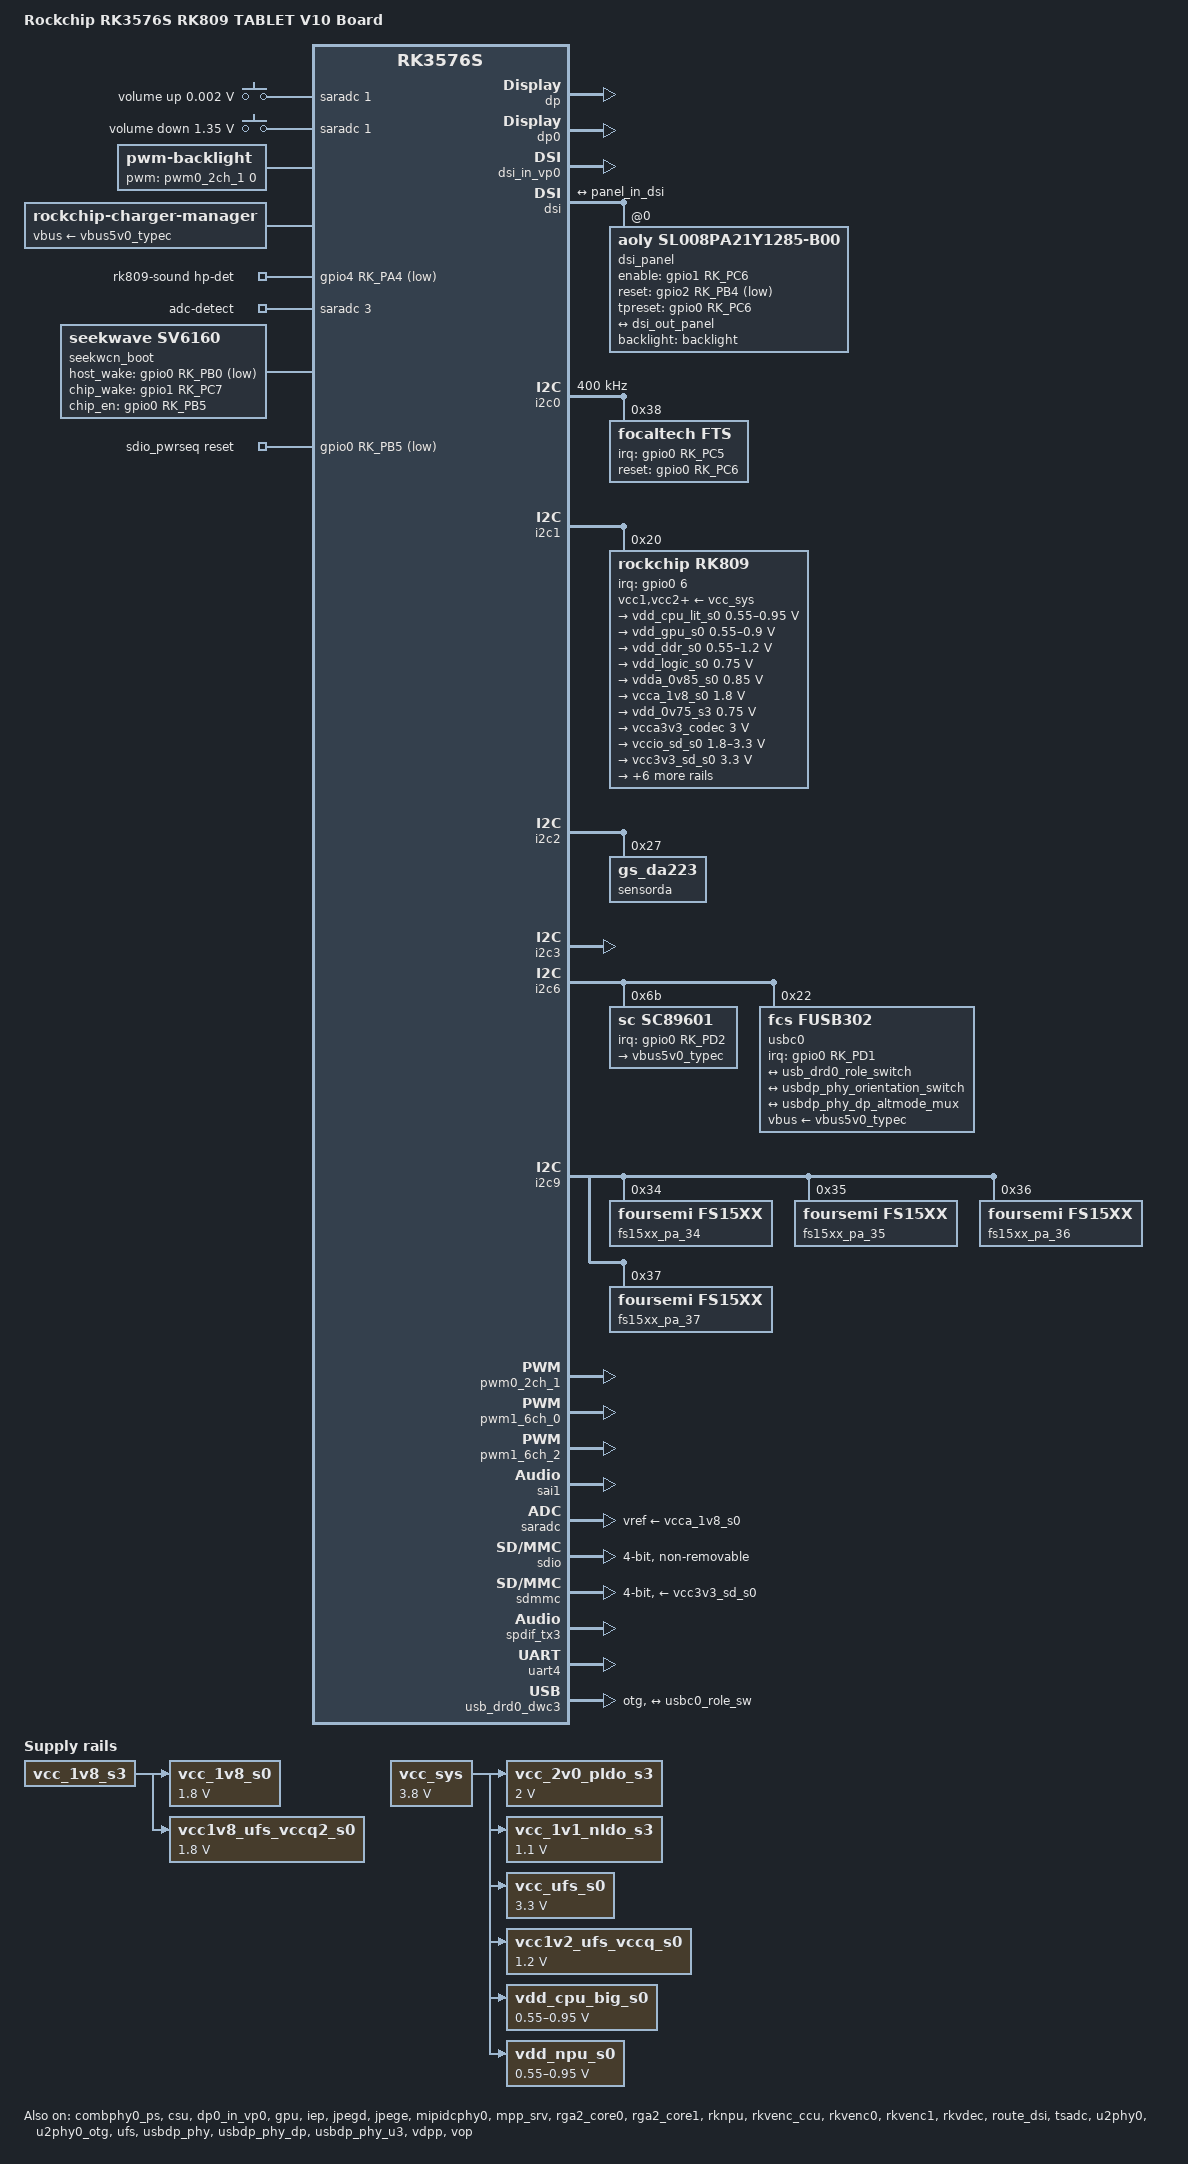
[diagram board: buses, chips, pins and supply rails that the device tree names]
// SPDX-License-Identifier: (GPL-2.0+ OR MIT)
/*
 * Copyright (c) 2024 Rockchip Electronics Co., Ltd.
 *
 */

/dts-v1/;

#include <dt-bindings/gpio/gpio.h>
#include <dt-bindings/pwm/pwm.h>
#include <dt-bindings/pinctrl/rockchip.h>
#include <dt-bindings/input/rk-input.h>
#include <dt-bindings/display/drm_mipi_dsi.h>
#include <dt-bindings/display/rockchip_vop.h>
#include <dt-bindings/sensor-dev.h>
#include <dt-bindings/usb/pd.h>
#include "rk3576s.dtsi"
#include "rk3576-android.dtsi"
#include "rk3576s-rk809-tablet-camera.dtsi"

/ {
	model = "Rockchip RK3576S RK809 TABLET V10 Board";
	compatible = "rockchip,rk3576s-rk809-tablet-v10", "rockchip,rk3576s";

	adc_keys: adc-keys {
		compatible = "adc-keys";
		io-channels = <&saradc 1>;
		io-channel-names = "buttons";
		keyup-threshold-microvolt = <1800000>;
		poll-interval = <100>;

		vol-up-key {
			label = "volume up";
			linux,code = <KEY_VOLUMEUP>;
			press-threshold-microvolt = <1750>;
		};

		vol-down-key {
			label = "volume down";
			linux,code = <KEY_VOLUMEDOWN>;
			press-threshold-microvolt = <1350000>;
		};
	};

	backlight: backlight {
		compatible = "pwm-backlight";
		pwms = <&pwm0_2ch_1 0 25000 0>;
		brightness-levels = <
			  0  20  20  21  21  22  22  23
			 23  24  24  25  25  26  26  27
			 27  28  28  29  29  30  30  31
			 31  32  32  33  33  34  34  35
			 35  36  36  37  37  38  38  39
			 40  41  42  43  44  45  46  47
			 48  49  50  51  52  53  54  55
			 56  57  58  59  60  61  62  63
			 64  65  66  67  68  69  70  71
			 72  73  74  75  76  77  78  79
			 80  81  82  83  84  85  86  87
			 88  89  90  91  92  93  94  95
			 96  97  98  99 100 101 102 103
			104 105 106 107 108 109 110 111
			112 113 114 115 116 117 118 119
			120 121 122 123 124 125 126 127
			128 129 130 131 132 133 134 135
			136 137 138 139 140 141 142 143
			144 145 146 147 148 149 150 151
			152 153 154 155 156 157 158 159
			160 161 162 163 164 165 166 167
			168 169 170 171 172 173 174 175
			176 177 178 179 180 181 182 183
			184 185 186 187 188 189 190 191
			192 193 194 195 196 197 198 199
			200 201 202 203 204 205 206 207
			208 209 210 211 212 213 214 215
			216 217 218 219 220 221 222 223
			224 225 226 227 228 229 230 231
			232 233 234 235 236 237 238 239
			240 241 242 243 244 245 246 247
			248 249 250 251 252 253 254 255
		>;
		default-brightness-level = <150>;
		max-brightness-level = <145>;
	};

	bt-sound {
		compatible = "simple-audio-card";
		simple-audio-card,format = "dsp_b";
		simple-audio-card,bitclock-inversion = <1>;
		simple-audio-card,mclk-fs = <256>;
		simple-audio-card,name = "rockchip,bt";
		simple-audio-card,cpu {
				sound-dai = <&sai2>;
		};
		simple-audio-card,codec {
				sound-dai = <&bt_sco>;
		};
	};

	bt_sco: bt-sco {
		compatible = "delta,dfbmcs320";
		#sound-dai-cells = <0>;
		status = "okay";
	};

	charge-animation {
		compatible = "rockchip,uboot-charge";
		rockchip,uboot-charge-on = <0>;
		rockchip,android-charge-on = <1>;
		rockchip,uboot-low-power-voltage = <3450>;
		rockchip,screen-on-voltage = <3500>;
		rockchip,auto-wakeup-interval = <5>;
		rockchip,uboot-exit-charge-level = <2>;
		rockchip,uboot-exit-charge-voltage = <3500>;
		rockchip,uboot-exit-charge-auto = <1>;
		status = "okay";
	};

	charger-manager {
		compatible = "rockchip-charger-manager";
		cm-name = "battery";
		cm-poll-mode = <2>;
		cm-poll-interval = <1000>;

		cm-chargers = "sc89601-charger";//cx2560x-charger,sc89601-charger
		cm-chargers-phandle = <&usbc0>;
		cm-fuel-gauge = "battery";
		/* monitored-battery = <&bat>; */
		extcon = <&u2phy0>;
		vbus-supply = <&vbus5v0_typec>;
		//cm-jeita-temp-charge-table = <0 15 2400000 4350000>,
		//				<15 45 2400000 4350000>,
		//				<45 60 2400000 4200000>;
	};

	dp0_sound: dp0-sound {
		compatible = "rockchip,hdmi";
		rockchip,mclk-fs = <512>;
		rockchip,card-name = "rockchip-dp0";
		rockchip,cpu = <&spdif_tx3>;
		rockchip,codec = <&dp0 1>;
		rockchip,jack-det;
	};

	rk809-sound {
		compatible = "rockchip,multicodecs-card";
		rockchip,card-name = "rockchip-rk809";
		hp-det-gpio = <&gpio4 RK_PA4 GPIO_ACTIVE_LOW>;
		io-channels = <&saradc 3>;
		io-channel-names = "adc-detect";
		keyup-threshold-microvolt = <1800000>;
		poll-interval = <100>;
		rockchip,format = "i2s";
		rockchip,mclk-fs = <256>;
		rockchip,cpu = <&sai1>;
		rockchip,codec = <&rk809_codec>;
		pinctrl-names = "default";
		pinctrl-0 = <&hp_det>;
		play-pause-key {
			label = "playpause";
			linux,code = <KEY_PLAYPAUSE>;
			press-threshold-microvolt = <2000>;
		};
	};

	vcc_sys: vcc-sys {
		compatible = "regulator-fixed";
		regulator-name = "vcc_sys";
		regulator-always-on;
		regulator-boot-on;
		regulator-min-microvolt = <3800000>;
		regulator-max-microvolt = <3800000>;
	};

	vcc_2v0_pldo_s3: vcc-2v0-pldo-s3 {
		compatible = "regulator-fixed";
		regulator-name = "vcc_2v0_pldo_s3";
		regulator-boot-on;
		regulator-always-on;
		regulator-min-microvolt = <2000000>;
		regulator-max-microvolt = <2000000>;
		vin-supply = <&vcc_sys>;
	};

	vcc_1v1_nldo_s3: vcc-1v1-nldo-s3 {
		compatible = "regulator-fixed";
		regulator-name = "vcc_1v1_nldo_s3";
		regulator-boot-on;
		regulator-always-on;
		regulator-min-microvolt = <1100000>;
		regulator-max-microvolt = <1100000>;
		vin-supply = <&vcc_sys>;
	};

	vcc_1v8_s0: vcc-1v8-s0 {
		compatible = "regulator-fixed";
		regulator-name = "vcc_1v8_s0";
		regulator-boot-on;
		regulator-always-on;
		regulator-min-microvolt = <1800000>;
		regulator-max-microvolt = <1800000>;
		vin-supply = <&vcc_1v8_s3>;
	};


	vcc_ufs_s0: vcc-ufs-s0 {
		compatible = "regulator-fixed";
		regulator-name = "vcc_ufs_s0";
		regulator-boot-on;
		regulator-always-on;
		regulator-min-microvolt = <3300000>;
		regulator-max-microvolt = <3300000>;
		vin-supply = <&vcc_sys>;
	};

	vcc1v8_ufs_vccq2_s0: vcc1v8-ufs-vccq2-s0 {
		compatible = "regulator-fixed";
		regulator-name = "vcc1v8_ufs_vccq2_s0";
		regulator-boot-on;
		regulator-always-on;
		regulator-min-microvolt = <1800000>;
		regulator-max-microvolt = <1800000>;
		vin-supply = <&vcc_1v8_s3>;
	};

	vcc1v2_ufs_vccq_s0: vcc1v2-ufs-vccq-s0 {
		compatible = "regulator-fixed";
		regulator-name = "vcc1v2_ufs_vccq_s0";
		regulator-boot-on;
		regulator-always-on;
		regulator-min-microvolt = <1200000>;
		regulator-max-microvolt = <1200000>;
		vin-supply = <&vcc_sys>;
	};

	vdd_cpu_big_s0: vdd-cpu-big-s0 {
		compatible = "pwm-regulator";
		pwms = <&pwm1_6ch_0 0 5000 1>;
		regulator-name = "vdd_cpu_big_s0";
		regulator-init-microvolt = <850000>;
		regulator-min-microvolt = <550000>;
		regulator-max-microvolt = <950000>;
		regulator-always-on;
		regulator-boot-on;
		regulator-settling-time-up-us = <250>;
		pwm-supply = <&vcc_sys>;
		regulator-state-mem {
			regulator-off-in-suspend;
			regulator-suspend-microvolt = <850000>;
		};
	};

	vdd_npu_s0: vdd-npu-s0 {
		compatible = "pwm-regulator";
		pwms = <&pwm1_6ch_2 0 5000 1>;
		regulator-name = "vdd_npu_s0";
		//regulator-init-microvolt = <850000>;
		regulator-min-microvolt = <550000>;
		regulator-max-microvolt = <950000>;
		regulator-always-on;
		regulator-boot-on;
		regulator-settling-time-up-us = <250>;
		pwm-supply = <&vcc_sys>;
		regulator-state-mem {
			regulator-off-in-suspend;
		};
	};

	seekwcn_boot:seekwcn_boot {
		compatible = "seekwave,sv6160";
		pinctrl-names = "default";
		pinctrl-0 = <&wifi_host_wake_irq>,<&wifi_chip_wake_irq>;
		sv6160_path = "/vendor/bin/sv6160.bin";
		sv6160_dram_path = "/vendor/etc/firmware/RAM_RW_KERNEL_DRAM";
		sv6160_iram_path = "/vendor/etc/firmware/ROM_EXEC_KERNEL_IRAM";
		dma_type = <1>;/*1:ADMA,2:SDMA*/
		gpio_host_wake = <&gpio0 RK_PB0 GPIO_ACTIVE_LOW>; /* [> CP2AP<] */
		gpio_chip_wake = <&gpio1 RK_PC7 GPIO_ACTIVE_HIGH>; /* AP2CP */
		gpio_chip_en = <&gpio0 RK_PB5 GPIO_ACTIVE_HIGH>; /* CP POWERON */
		status = "okay";
	};

	sdio_pwrseq: sdio-pwrseq {
		compatible = "mmc-pwrseq-simple";
		pinctrl-names = "default";
		pinctrl-0 = <&wifi_power_en>;

		/*
		 * On the module itself this is one of these (depending
		 * on the actual card populated):
		 * - SDIO_RESET_L_WL_REG_ON
		 * - PDN (power down when low)
		 */
		post-power-on-delay-ms = <200>;
		reset-gpios = <&gpio0 RK_PB5 GPIO_ACTIVE_LOW>;
	};

	wireless_bluetooth: wireless-bluetooth {
		compatible = "bluetooth-platdata";
		uart_rts_gpios = <&gpio1 RK_PC2 GPIO_ACTIVE_LOW>;
		pinctrl-names = "default", "rts_gpio";
		pinctrl-0 = <&uart4m1_rtsn>;
		pinctrl-1 = <&uart4_gpios>;
		BT,reset_gpio    = <&gpio1 RK_PC7 GPIO_ACTIVE_HIGH>;
		BT,wake_gpio     = <&gpio1 RK_PD4 GPIO_ACTIVE_HIGH>;
		BT,wake_host_irq = <&gpio0 RK_PB1 GPIO_ACTIVE_HIGH>;
		status = "disabled";
	};

	wireless_wlan: wireless-wlan {
		compatible = "wlan-platdata";
		wifi_chip_type = "ap6275p";
		pinctrl-names = "default";
		pinctrl-0 = <&wifi_host_wake_irq>;
		WIFI,host_wake_irq = <&gpio0 RK_PB0 GPIO_ACTIVE_HIGH>;
		WIFI,poweren_gpio = <&gpio0 RK_PB5 GPIO_ACTIVE_HIGH>;
		status = "disabled";
	};
};

&combphy0_ps {
	status = "okay";
};

&cpu_l0 {
	cpu-supply = <&vdd_cpu_lit_s0>;
};

&cpu_b0 {
	cpu-supply = <&vdd_cpu_big_s0>;
};

&csu {
	status = "okay";
};

&dp {
	status = "okay";
};

&dp0 {
	status = "okay";
};

&dp0_in_vp0 {
	status = "okay";
};

&dsi_in_vp0 {
	status = "okay";
};

&dsi {
	status = "okay";
	auto-calculation-mode;
	//rockchip,lane-rate = <1080>;

	dsi_panel: panel@0 {
		compatible = "aoly,sl008pa21y1285-b00", "simple-panel-dsi";
		reg = <0>;
		backlight = <&backlight>;

		enable-gpios = <&gpio1 RK_PC6 GPIO_ACTIVE_HIGH>;
		reset-gpios = <&gpio2 RK_PB4 GPIO_ACTIVE_LOW>;
		tpreset-gpios = <&gpio0 RK_PC6 GPIO_ACTIVE_HIGH>;

		pinctrl-names = "default";
		pinctrl-0 = <&lcd_enable_gpio>, <&lcd_rst_gpio>;

		prepare-delay-ms = <20>;
		reset-delay-ms = <20>;
		init-delay-ms = <60>;
		enable-delay-ms = <120>;
		disable-delay-ms = <20>;
		unprepare-delay-ms = <20>;
		need-up-reset = <1>;

		width-mm = <137>;
		height-mm = <217>;

		dsi,flags = <(MIPI_DSI_MODE_VIDEO | MIPI_DSI_MODE_VIDEO_BURST |
			      MIPI_DSI_MODE_LPM | MIPI_DSI_MODE_NO_EOT_PACKET |
				  MIPI_DSI_CLOCK_NON_CONTINUOUS)>;
		dsi,format = <MIPI_DSI_FMT_RGB888>;
		dsi,lanes  = <4>;

		panel-init-sequence = [
			15 00 02 41 5A
			39 00 03 41 5A 03
			15 00 02 80 70
			39 00 03 41 5A 2F
			15 00 02 28 00
			15 78 02 10 00
			39 00 03 41 5A 08
			39 00 05 80 82 00 82 00
			39 00 03 41 5A 09
			39 00 11 80 1A 01 AB 93 A5 97 59 2A B1 06 00 00 80 BF 85 10
			39 00 11 90 42 44 84 14 C6 13 99 09 C0 0B 6B 36 07 60 28 00
			39 00 11 A0 80 90 20 AA 00 04 55 55 05 00 1F 0D 42 00 FE FF
			39 00 11 B0 03 7C F3 00 37 01 37 01 00 00 00 41 25 00 4A 00
			39 00 11 C0 00 00 00 00 00 00 00 00 10 04 02 00 07 00 08 18
			39 00 03 D0 00 00
			39 00 03 41 5A 0A
			39 00 11 80 AF AF D4 30 40 2B 3A 42 4B 59 65 66 73 74 86 80
			39 00 11 90 6F 71 67 60 56 46 3A 31 20 0E 0A 30 40 2B 3A 42
			39 00 11 A0 4B 59 65 66 73 74 86 80 6F 71 67 60 56 46 3A 31
			39 00 04 B0 20 0E 0A
			39 00 03 41 5A 0B
			39 00 11 80 00 00 50 B5 C5 AC 00 00 A0 6A 8B A9 AE 22 02 00
			39 00 11 90 EF D8 B8 F7 25 70 E0 08 11 02 40 13 4F 4D 3C 35
			39 00 09 A0 F1 A4 06 FF FF 00 03 00
			39 00 03 41 5A 0C
			39 00 11 80 FE 68 58 02 BC 37 31 08 00 00 56 01 00 55 61 15
			39 00 11 90 55 51 15 56 01 00 56 01 00 55 61 15 55 51 15 56
			39 00 11 A0 B1 84 01 00 00 00 00 00 00 40 94 02 00 00 00 30
			39 00 11 B0 28 15 80 04 00 18 00 00 00 30 0A 00 00 00 00 00
			39 00 08 C0 00 01 05 C2 B0 00 00
			39 00 03 41 5A 0D
			39 00 11 80 08 00 00 28 02 00 04 12 00 08 02 77 02 4A 10 F0
			39 00 07 90 00 02 58 16 04 A1
			39 00 03 41 5A 0E
			39 00 11 80 FF 81 68 6C 22 FD 22 00 55 55 55 55 05 5A 5A 80
			39 00 07 90 01 00 00 60 01 00
			39 00 03 41 5A 0F
			39 00 11 80 01 39 C1 23 63 04 80 04 06 02 28 84 0B 00 70 03
			39 00 11 90 19 04 20 00 06 10 00 A0 05 5A 10 00 00 90 94 92
			39 00 11 A0 1D DC 41 B3 65 C0 4A 0B 5A 71 22 80 19 4A 00 20
			39 00 11 B0 27 9E 01 C0 19 7A 21 14 00 40 30 E0 00 2D D0 82
			39 00 11 C0 00 00 60 18 63 D0 A0 0D 9A 21 02 10 62 84 28 03
			39 00 11 D0 8A 88 88 48 92 09 0F 15 1E E0 31 06 04 02 14 04
			39 00 11 E0 10 22 22 BD 84 C8 41 24 10 51 2D 3E 64 40 41 00
			39 00 10 F0 00 27 1A 04 F5 FF FF 3F 00 00 15 40 14 00 00
			39 00 03 41 5A 10
			39 00 11 80 00 00 03 E7 8F 0B 00 3C 80 01 6A 0C 18 C4 20 C5
			39 00 11 90 1C 94 D4 62 CD 3D F8 03 3F F0 03 3F 00 FF FF FF
			39 00 03 A0 81 00
			39 00 03 41 5A 11
			39 00 08 80 00 00 00 00 00 00 00
			39 00 03 41 5A 12
			39 00 11 80 00 00 00 00 00 00 00 00 00 00 00 00 00 00 00 00
			39 00 11 90 00 10 00 00 00 00 00 00 00 00 00 00 00 00 00 00
			39 00 11 A0 00 00 00 00 00 00 2D 23 05 FB 00 2D 23 05 FB 00
			39 00 03 41 5A 13
			39 00 11 80 00 08 80 15 00 90 10 18 3E 10 00 D6 03 04 18 00
			39 00 11 90 70 88 30 90 32 70 3E 97 8B 39 30 C4 09 C4 09 C4
			39 00 11 A0 89 4F DC 45 80 0A C4 09 C4 09 80 02 00 00 00 00
			39 00 11 B0 00 00 00 00 00 00 1B 01 31 75 B9 42 86 CA 31 75
			39 00 11 C0 B9 42 86 CA 00 00 00 00 0C 60 00 24 18 00 09 06
			39 00 11 D0 40 82 01 90 60 00 24 D0 01 09 74 40 02 1D 90 40
			39 00 11 E0 07 24 D0 01 09 1E 46 1E 46 00 00 20 C5 0F 00 C0
			39 00 0d F0 10 40 26 4E 46 02 C8 20 80 0C 00 00
			39 00 03 41 5A 14
			39 00 11 80 01 02 40 2C 99 DF EF F7 9B CF 01 00 00 C0 83 38
			39 00 11 90 31 9F 1F 10 23 E6 F3 03 B6 C2 7C 4E C0 66 98 CF
			39 00 11 A0 09 D0 0C BF 1F 01 9A E1 F7 23 00 80 07 00 00 00
			39 00 11 B0 00 00 00 00 00 00 00 00 00 00 00 00 80 84 07 84
			39 00 11 C0 07 05 00 30 18 0C CF 84 F9 7C 0C C5 00 F4 3C 98
			39 00 11 D0 CF C7 50 0C 40 CF 82 F9 7C 0C C5 00 F4 1C 98 CF
			39 00 11 E0 C7 50 0C 40 CF 80 F9 7C 0C C5 00 F4 04 98 CF C7
			39 00 11 F0 50 0C 40 4F 81 F9 7C 0C C5 00 F4 24 98 CF C7 50
			39 00 03 41 5A 15
			39 00 11 80 0C 40 40 80 DF 0F 00 00 00 00 00 00 00 00 00 00
			39 00 11 90 00 00 00 00 00 00 00 00 00 00 00 00 00 00 00 00
			39 00 11 A0 00 00 1C 00 00 00 08 42 60 0E 00 00 00 00 00 00
			39 00 11 B0 00 00 00 00 00 00 00 00 00 00 00 00 00 00 00 00
			39 00 11 C0 00 40 00 00 00 00 00 00 00 A0 1F 40 E8 00 20 2C
			39 00 11 D0 8A 34 4D AE 6B 01 81 30 10 85 71 24 A8 6D 5B B3
			39 00 11 E0 6D 21 C9 24 4D AE 6B 1D 46 41 0C 42 00 28 AB 6D
			39 00 11 F0 5B B3 6D 2D 8A 34 4D AE 6B 01 81 30 10 85 71 24
			39 00 03 41 5A 16
			39 00 11 80 A8 6D 5B B3 6D 21 C9 24 4D AE 6B 1D 46 41 0C 42
			39 00 11 90 00 28 AB 6D 5B B3 6D 01 03 03 00 00 00 00 00 00
			39 00 11 A0 00 00 00 00 00 00 00 00 00 00 00 00 C0 1F E1 01
			39 00 11 B0 28 02 00 00 00 00 00 00 00 00 04 00 00 00 00 00
			39 00 11 C0 00 00 00 00 00 00 02 06 00 00 00 00 00 00 02 00
			39 00 11 D0 00 00 00 00 00 00 00 00 04 00 00 00 00 00 00 00
			39 00 11 E0 00 00 00 00 01 00 00 00 00 00 00 00 00 00 00 00
			39 00 11 F0 00 04 00 00 00 00 00 00 00 00 00 20 00 00 00 00
			39 00 03 41 5A 17
			39 00 11 80 00 00 00 00 00 04 00 00 00 00 00 00 00 00 00 20
			39 00 11 90 00 00 00 00 00 00 00 00 00 10 00 00 00 00 00 00
			39 00 11 A0 00 00 00 00 00 00 00 10 00 00 00 00 00 00 00 00
			39 00 11 B0 40 00 00 00 00 00 00 00 00 00 01 00 00 00 00 00
			39 00 11 C0 00 00 00 00 10 00 00 00 00 00 00 00 00 00 00 00
			39 00 07 D0 00 01 00 00 00 00
			39 00 03 41 5A 18
			39 00 11 80 7F 7F FE FE FE FE FE FE FE FE FE FE D4 7F D4 D4
			39 00 11 90 D4 D4 D4 D4 D4 D4 D4 D4 AA AA AA AA AA AA AA AA
			39 00 11 A0 AA AA AA AA 7F 7F 7F 7F 7F 7F 7F 7F 7F 7F 7F 7F
			39 00 11 B0 7C 83 79 86 79 86 79 86 79 86 79 86 7A 83 7A 85
			39 00 11 C0 7A 85 7A 85 7A 85 7A 85 7B 84 7B 84 7B 84 7B 84
			39 00 11 D0 7B 84 7B 84 7C 83 7C 83 7C 83 7C 83 7C 83 7C 83
			39 00 11 E0 FE 7F 7F FE FE FE FE FE FE FE FE FE FE D4 7F D4
			39 00 11 F0 D4 D4 D4 D4 D4 D4 D4 D4 D4 AA AA AA AA AA AA AA
			39 00 03 41 5A 19
			39 00 11 80 AA AA AA AA AA 7F 7F 7F 7F 7F 7F 7F 7F 7F 7F 7F
			39 00 11 90 7F 7C 83 79 86 79 86 79 86 79 86 79 86 7A 83 7A
			39 00 11 A0 85 7A 85 7A 85 7A 85 7A 85 7B 84 7B 84 7B 84 7B
			39 00 11 B0 84 7B 84 7B 84 7C 83 7C 83 7C 83 7C 83 7C 83 7C
			39 00 11 C0 83 7F 04 FF 1E 00 08 10 18 20 28 30 38 FC 00 04
			39 00 0c D0 20 00 01 08 40 00 02 10 80 00 FC
			39 00 03 41 5A 1A
			39 00 11 80 F0 D9 C8 BA AF A6 9E 98 92 8D 88 84 00 60 F6 CF
			39 00 11 90 FC 6F F6 EF CF AF 5F 55 00 F8 00 F8 00 F8 AD 8D
			39 00 11 A0 73 60 53 4A 43 7F 78 10 A0 3F 00 00 00 00 00 00
			39 00 11 B0 00 00 00 00 00 00 00 00 00 00 00 00 00 00 00 00
			39 00 09 C0 00 00 00 00 00 00 00 00
			39 00 03 41 5A 1C
			39 00 11 80 00 04 08 0C 00 10 14 18 1C 00 20 28 30 38 00 40
			39 00 11 90 48 50 58 00 60 68 70 78 00 80 88 90 98 00 A0 A8
			39 00 11 A0 B0 B8 00 C0 C8 D0 D8 00 E0 E8 F0 F8 00 FC FE FF
			39 00 11 B0 00 00 04 08 0C 00 10 14 18 1C 00 20 28 30 38 00
			39 00 11 C0 40 48 50 58 00 60 68 70 78 00 80 88 90 98 00 A0
			39 00 11 D0 A8 B0 B8 00 C0 C8 D0 D8 00 E0 E8 F0 F8 00 FC FE
			39 00 11 E0 FF 00 00 04 08 0C 00 10 14 18 1C 00 20 28 30 38
			39 00 11 F0 00 40 48 50 58 00 60 68 70 78 00 80 88 90 98 00
			39 00 03 41 5A 1D
			39 00 11 80 A0 A8 B0 B8 00 C0 C8 D0 D8 00 E0 E8 F0 F8 00 FC
			39 00 05 90 FE FF 00 00
			39 00 03 41 5A 1F
			39 00 11 80 5A 0F 70 09 28 30 38 40 48 50 58 60 20 30 38 40
			39 00 11 90 48 50 58 60 20 28 38 40 48 50 58 60 20 28 30 40
			39 00 11 A0 48 50 58 60 20 28 30 38 48 50 58 60 20 28 30 38
			39 00 11 B0 40 50 58 60 20 28 30 38 40 48 58 60 20 28 30 38
			39 00 11 C0 40 48 50 60 20 28 30 38 40 48 50 58 FF 5A 1E 20
			39 00 0d D0 00 02 20 00 02 20 00 02 20 00 02 FE
			39 00 03 41 5A 20
			39 00 11 80 44 73 03 00 CA F3 FF 6B 10 08 02 08 03 41 18 30
			39 00 11 90 18 44 E1 40 E1 20 30 18 C8 21 41 01 39 13 44 42
			39 00 11 A0 91 50 28 14 0A 85 03 D2 B0 80 36 7F D0 1F 12 E0
			39 00 11 B0 18 36 1B 11 04 20 02 D0 80 B3 21 38 20 18 88 03
			39 00 11 C0 82 01 4D 70 40 30 8D 0D A4 A2 00 80 04 38 00 50
			39 00 11 D0 80 13 E0 00 14 C0 70 40 00 E0 81 00 00 28 0E 06
			39 00 11 E0 43 55 55 55 55 55 D5 CC CC CC CC CC 4C 08 82 C6
			39 00 11 F0 E0 01 00 00 00 21 42 88 00 00 00 00 00 00 00 20
			39 00 03 41 5A 21
			39 00 11 80 04 41 06 49 90 04 49 00 00 49 00 00 49 00 00 49
			39 00 11 90 90 04 00 85 11 0C 00 00 40 00 00 00 00 16 00 A5
			39 00 11 A0 00 08 08 15 10 D1 B6 45 92 8A 20 A2 6D 0B 00 54
			39 00 11 B0 40 44 DB 16 00 48 92 24 09 E0 0F 80 55 30 01 10
			39 00 11 C0 01 42 82 11 20 02 10 10 01 08 88 00 04 44 00 02
			39 00 11 D0 22 00 04 91 80 1F 00 40 40 04 00 00 00 18 10 16
			39 00 03 E0 10 00
			39 00 03 41 5A 22
			39 00 11 80 29 D3 00 55 55 55 55 55 55 55 55 55 55 55 1F 70
			39 00 04 90 F0 00 00
			39 00 03 41 5A 23
			39 00 11 80 09 01 02 05 00 05 04 00 00 00 00 00 00 00 00 00
			39 00 0a 90 00 FF 1F 20 00 01 00 00 FE
			39 00 03 41 5A 24
			39 00 11 80 00 03 00 FF FF 66 00 00 00 00 00 00 00 00 24 64
			39 00 0f 90 5A A5 5A 00 00 00 00 22 22 3A 22 00 00 00
			39 00 03 41 5A 24
			15 00 02 90 A5
			39 00 03 41 5A 2F
			15 00 02 4C 03
			15 00 02 09 01
			39 00 03 51 ff 0f
			15 00 02 53 24
			15 00 02 55 00
			//15 00 02 02 5a

			05 78 01 11
			05 0A 01 29
		];

		panel-exit-sequence = [
			13 14 01 28
			13 78 01 10
		];

		disp_timings0: display-timings {
			native-mode = <&dsi_timing0>;
			dsi_timing0: timing0 {
				clock-frequency = <170000000>;
				hactive = <1200>;
				vactive = <1920>;

				hfront-porch = <48>;
				hsync-len = <20>;
				hback-porch = <38>;

				vfront-porch = <224>;
				vsync-len = <6>;
				vback-porch = <32>;

				hsync-active = <0>;
				vsync-active = <0>;
				de-active = <0>;
				pixelclk-active = <0>;
			};
		};

		ports {
			#address-cells = <1>;
			#size-cells = <0>;

			port@0 {
				reg = <0>;
				panel_in_dsi: endpoint {
					remote-endpoint = <&dsi_out_panel>;
				};
			};
		};
	};

	ports {
		#address-cells = <1>;
		#size-cells = <0>;

		port@1 {
			reg = <1>;
			dsi_out_panel: endpoint {
				remote-endpoint = <&panel_in_dsi>;
			};
		};
	};

};

&gpu {
	mali-supply = <&vdd_gpu_s0>;
	status = "okay";
};

&i2c0 {
	pinctrl-0 = <&i2c0m1_xfer>;
	clock-frequency = <400000>;
	status = "okay";

	ts@40 {
		compatible = "GSL,GSL3673_800X1280";
		reg = <0x40>;
		irq_gpio_number = <&gpio0 RK_PC5 GPIO_ACTIVE_HIGH>;
		rst_gpio_number = <&gpio0 RK_PD0 GPIO_ACTIVE_HIGH>;
		pinctrl-names = "default";
		pinctrl-0 = <&touch_gpio>;
		rockchip,panel-notifier = <&dsi_panel>;
		status = "disabled";
	};

	focaltech@38 {
		compatible = "focaltech,fts";
		reg = <0x38>;
		//extcon = <&dsi>;
		focaltech,irq-gpio = <&gpio0 RK_PC5 GPIO_ACTIVE_HIGH>;
		focaltech,reset-gpio = <&gpio0 RK_PC6 GPIO_ACTIVE_HIGH>;
		focaltech,max-touch-number = <10>;
		focaltech,display-coords =  <0 0 1200 1920>;//AB:1920 1200, P:1200 1920
		rockchip,panel-notifier = <&dsi_panel>;
		status = "okay";
	};
};

&i2c1 {
	status = "okay";

	rk809: pmic@20 {
		compatible = "rockchip,rk809";
		reg = <0x20>;
		interrupt-parent = <&gpio0>;
		interrupts = <6 IRQ_TYPE_LEVEL_LOW>;

		pinctrl-names = "default", "pmic-sleep",
			"pmic-power-off", "pmic-reset";
		pinctrl-0 = <&pmic_int>;
		pinctrl-1 = <&soc_slppin_slp>, <&rk817_slppin_slp>;
		pinctrl-2 = <&soc_slppin_gpio>, <&rk817_slppin_pwrdn>;
		pinctrl-3 = <&soc_slppin_slp>, <&rk817_slppin_slp>;
		rockchip,system-power-controller;
		wakeup-source;
		#clock-cells = <1>;
		//clock-output-names = "rk808-clkout1", "rk808-clkout2";

		/* PWRON_ON_TIME: 0:500mS; 1:100mS */
		pwron-on-time-500ms;

		/* 1: rst regs (default in codes), 0: rst the pmic */
		pmic-reset-func = <1>;
		/* not save the PMIC_POWER_EN register in uboot */
		not-save-power-en = <1>;
		rockchip,clk-32k-always-on;
		vcc1-supply = <&vcc_sys>;
		vcc2-supply = <&vcc_sys>;
		vcc3-supply = <&vcc_sys>;
		vcc4-supply = <&vcc_sys>;
		vcc5-supply = <&vcc_sys>;
		vcc6-supply = <&vcc_sys>;
		vcc7-supply = <&vcc_sys>;
		vcc8-supply = <&vcc_sys>;
		vcc9-supply = <&vcc_sys>;

		pwrkey {
			status = "okay";
		};

		pinctrl_rk8xx: pinctrl_rk8xx {
			gpio-controller;
			#gpio-cells = <2>;

			rk817_slppin_null: rk817_slppin_null {
				pins = "gpio_slp";
				function = "pin_fun0";
			};

			rk817_slppin_slp: rk817_slppin_slp {
				pins = "gpio_slp";
				function = "pin_fun1";
			};

			rk817_slppin_pwrdn: rk817_slppin_pwrdn {
				pins = "gpio_slp";
				function = "pin_fun2";
			};

			rk817_slppin_rst: rk817_slppin_rst {
				pins = "gpio_slp";
				function = "pin_fun3";
			};
		};

		regulators {
			vdd_cpu_lit_s0: DCDC_REG1 {
				regulator-always-on;
				regulator-boot-on;
				regulator-init-microvolt = <850000>;
				regulator-min-microvolt = <550000>;
				regulator-max-microvolt = <950000>;
				regulator-ramp-delay = <12500>;
				regulator-initial-mode = <0x2>;
				regulator-name = "vdd_cpu_lit_s0";
				regulator-state-mem {
					regulator-off-in-suspend;
					regulator-suspend-microvolt = <850000>;
				};
			};

			vdd_gpu_s0: DCDC_REG2 {
				regulator-boot-on;
				regulator-init-microvolt = <750000>;
				regulator-min-microvolt = <550000>;
				regulator-max-microvolt = <900000>;
				regulator-ramp-delay = <12500>;
				regulator-initial-mode = <0x2>;
				regulator-name = "vdd_gpu_s0";
				regulator-enable-ramp-delay = <400>;
				regulator-state-mem {
					regulator-off-in-suspend;
					regulator-suspend-microvolt = <850000>;
				};
			};

			vdd_ddr_s0: DCDC_REG3 {
				regulator-always-on;
				regulator-boot-on;
				regulator-initial-mode = <0x2>;
				regulator-min-microvolt = <550000>;
				regulator-max-microvolt = <1200000>;
				regulator-name = "vdd_ddr_s0";
				regulator-state-mem {
					regulator-off-in-suspend;
					regulator-suspend-microvolt = <1200000>;
				};
			};

			vdd_logic_s0: vdd_log_mem_s0: DCDC_REG4 {
				regulator-always-on;
				regulator-boot-on;
				regulator-init-microvolt = <750000>;
				regulator-min-microvolt = <750000>;
				regulator-max-microvolt = <750000>;
				regulator-initial-mode = <0x2>;
				regulator-name = "vdd_logic_s0";
				regulator-state-mem {
					regulator-off-in-suspend;
					regulator-suspend-microvolt = <750000>;
				};
			};

			vdda_0v85_s0: LDO_REG1 {
				regulator-always-on;
				regulator-boot-on;
				regulator-min-microvolt = <850000>;
				regulator-max-microvolt = <850000>;
				regulator-name = "vdda_0v85_s0";
				regulator-state-mem {
					regulator-off-in-suspend;
					regulator-suspend-microvolt = <850000>;
				};
			};

			vcca_1v8_s0: LDO_REG2 {
				regulator-always-on;
				regulator-boot-on;
				regulator-min-microvolt = <1800000>;
				regulator-max-microvolt = <1800000>;
				regulator-name = "vcca_1v8_s0";
				regulator-state-mem {
					regulator-off-in-suspend;
					regulator-suspend-microvolt = <1800000>;
				};
			};

			vdd_0v75_s3: LDO_REG3 {
				regulator-always-on;
				regulator-boot-on;
				regulator-min-microvolt = <750000>;
				regulator-max-microvolt = <750000>;
				regulator-name = "vdd_0v75_s3";
				regulator-state-mem {
					regulator-on-in-suspend;
					regulator-suspend-microvolt = <750000>;
				};
			};

			vcca3v3_codec: LDO_REG4 {
				regulator-always-on;
				regulator-boot-on;
				regulator-min-microvolt = <3000000>;
				regulator-max-microvolt = <3000000>;
				regulator-name = "vcca3v3_codec";
				regulator-state-mem {
					regulator-off-in-suspend;
					regulator-suspend-microvolt = <3000000>;
				};
			};

			vccio_sd_s0: LDO_REG5 {
				regulator-always-on;
				regulator-boot-on;
				regulator-min-microvolt = <1800000>;
				regulator-max-microvolt = <3300000>;
				regulator-name = "vccio_sd_s0";
				regulator-state-mem {
					regulator-off-in-suspend;
					regulator-suspend-microvolt = <3300000>;
				};
			};

			vcc3v3_sd_s0: LDO_REG6 {
				regulator-always-on;
				regulator-boot-on;
				regulator-min-microvolt = <3300000>;
				regulator-max-microvolt = <3300000>;
				regulator-name = "vcc3v3_sd_s0";
				regulator-state-mem {
					regulator-off-in-suspend;
					regulator-suspend-microvolt = <3300000>;
				};
			};

			vcca1v8_otp_s0: LDO_REG7 {
				regulator-always-on;
				regulator-boot-on;
				regulator-min-microvolt = <1800000>;
				regulator-max-microvolt = <1800000>;
				regulator-name = "vcca1v8_otp_s0";
				regulator-state-mem {
					regulator-off-in-suspend;
					regulator-suspend-microvolt = <1800000>;
				};
			};

			vcc_1v2_cam: LDO_REG8 {
				regulator-boot-on;
				regulator-min-microvolt = <1200000>;
				regulator-max-microvolt = <1200000>;
				regulator-name = "vcc_1v2_cam";
				regulator-state-mem {
					regulator-off-in-suspend;
					regulator-suspend-microvolt = <1200000>;
				};
			};

			vdda_1v2_s0: LDO_REG9 {
				regulator-always-on;
				regulator-boot-on;
				regulator-min-microvolt = <1200000>;
				regulator-max-microvolt = <1200000>;
				regulator-name = "vdda_1v2_s0";
				regulator-state-mem {
					regulator-off-in-suspend;
					regulator-suspend-microvolt = <1200000>;
				};
			};

			vcc_1v8_s3: DCDC_REG5 {
				regulator-always-on;
				regulator-boot-on;
				regulator-min-microvolt = <1800000>;
				regulator-max-microvolt = <1800000>;
				regulator-name = "vcc_1v8_s3";
				regulator-state-mem {
					regulator-on-in-suspend;
					regulator-suspend-microvolt = <1800000>;
				};
			};

			vcc_3v3_motor: SWITCH_REG1 {
				regulator-name = "vcc_3v3_motor";
				regulator-state-mem {
					regulator-off-in-suspend;
				};
			};

			vcc_3v3_s0: SWITCH_REG2 {
				regulator-always-on;
				regulator-boot-on;
				regulator-name = "vcc_3v3_s0";
				regulator-state-mem {
					regulator-off-in-suspend;
				};
			};
		};

		battery {
			compatible = "rk817,battery";
			ocv_table = <3400 3671 3686 3712 3738 3756 3773
				     3787 3802 3819 3840 3868 3916 3959
				     3998 4041 4087 4138 4191 4247 4313>;
			design_capacity = <5780>;
			design_qmax = <6358>;
			bat_res = <100>;
			sleep_enter_current = <150>;
			sleep_exit_current = <180>;
			sleep_filter_current = <100>;
			power_off_thresd = <3400>;
			zero_algorithm_vol = <3950>;
			max_soc_offset = <60>;
			monitor_sec = <5>;
			sample_res = <10>;
			virtual_power = <0>;
			bat_res_up = <60>;
			bat_res_down = <20>;
		};

		rk809_codec: codec {
			#sound-dai-cells = <1>;
			compatible = "rockchip,rk809-codec", "rockchip,rk817-codec";
			clocks = <&mclkout_sai1>;
			clock-names = "mclk";
			assigned-clocks = <&mclkout_sai1>;
			assigned-clock-rates = <12288000>;
			pinctrl-names = "default";
			pinctrl-0 = <&sai1m0_mclk>;
			hp-volume = <20>;
			spk-volume = <25>;
			use-ext-amplifier;
			status = "okay";
		};
	};
};

&i2c2 {
	status = "okay";

	icm42607_acc: icm_acc@68 {
		status = "disabled";
		compatible = "icm42607_acc";
		reg = <0x68>;
		irq-gpio = <&gpio0 RK_PC7 IRQ_TYPE_EDGE_RISING>;
		irq_enable = <0>;
		poll_delay_ms = <30>;
		type = <SENSOR_TYPE_ACCEL>;
		layout = <1>;
	};

	icm42607_gyro: icm_gyro@69 { //real addr 0x68
		status = "disabled";
		compatible = "icm42607_gyro";
		reg = <0x69>;
		poll_delay_ms = <30>;
		type = <SENSOR_TYPE_GYROSCOPE>;
		layout = <0>;
	};

	sensor@19 {
		compatible = "gs_sc7a20";
		reg = <0x19>;
		type = <SENSOR_TYPE_ACCEL>;
		irq_enable = <0>;
		pinctrl-names = "default";
		pinctrl-0 = <&sensor_gpio>;
		irq-gpio = <&gpio0 RK_PC7 IRQ_TYPE_LEVEL_LOW>;
		poll_delay_ms = <10>;
		layout = <7>; //<7>;//<5>;
		reprobe_en = <0>;
		is_sc7a20e = <0>;
		swap_xy = <0>;
		revert_x = <1>;
		revert_y = <1>;
		revert_z = <0>;
		status = "disabled";
	};

	sensorda@27{
		compatible = "gs_da223";
		reg = <0x27>;
		type = <SENSOR_TYPE_ACCEL>;
		//irq-gpio = <&gpio0 RK_PC4 IRQ_TYPE_LEVEL_LOW>;
		irq_enable = <0>;
		poll_delay_ms = <10>;
		layout = <6>;
		//layout = <5>;
		swap_xy = <0>;
		revert_x = <0>;
		revert_y = <1>;
		revert_z = <0>;
		status = "okay";
	};
};

&i2c3 {
	status = "okay";

};

&i2c6 {
	status = "okay";
	pinctrl-names = "default";
	pinctrl-0 = <&i2c6m3_xfer>;

	sc89601: sc89601@6b {
		compatible = "sc,sc89601";
		reg = <0x6b>;
		status = "okay";
		pinctrl-names = "default";
		pinctrl-0 = <&charger_ok>;
		interrupt-parent = <&gpio0>;
		interrupts = <RK_PD2 IRQ_TYPE_EDGE_FALLING>; /* IRQ_TYPE_LEVEL_LOW>;*/
		charger-phandle = <&usbc0>;
		sc,battery-regulation-voltage = <4350000>; /* 4200000,4.2V , 4350000, 4232000*/
		sc,charge-current = <3000000>; /*2040000,* 2.040A, 3000000 */
		sc,termination-current = <180000>;  /* 180mA, 180000 */
		sc,precharge-current = <180000>; /* 180mA */
		sc,minimum-sys-voltage = <3400000>; /*3500000, 3.5V */
		sc,boost-voltage = <5000000>; /*5100000, 5.1V */
		sc,boost-max-current = <1500000>; /*1200000, 1200mA */

		sc,use-stat-pin = <0>; /* enable stat pin */
		sc,boost-freq = <0>; /* 1.5MHz */

		//monitored-battery = <&bat>;
		regulators {
			otg-en-pin = <&gpio0 RK_PD3 GPIO_ACTIVE_HIGH>;
			vbus5v0_typec: vbus5v0-typec {
				regulator-compatible = "otg-vbus";
				regulator-name = "vbus5v0_typec";
			};
		};
	};

	/* aw35615. aw35615 is compatible with fusb302. */
	usbc0: fusb302@22 {
		compatible = "fcs,fusb302";
		reg = <0x22>;
		interrupt-parent = <&gpio0>;
		interrupts = <RK_PD1 IRQ_TYPE_LEVEL_LOW>;
		pinctrl-names = "default";
		pinctrl-0 = <&usbc0_int>;
		vbus-supply = <&vbus5v0_typec>;
		wakeup-source;
		status = "okay";

		ports {
			#address-cells = <1>;
			#size-cells = <0>;

			port@0 {
				reg = <0>;
				usbc0_role_sw: endpoint@0 {
					remote-endpoint = <&usb_drd0_role_switch>;
				};
			};
		};

		usb_con: connector {
			compatible = "usb-c-connector";
			label = "USB-C";
			data-role = "dual";
			power-role = "dual";
			try-power-role = "sink";
			op-sink-microwatt = <1000000>;
			sink-pdos =
				<PDO_FIXED(5000, 1200, PDO_FIXED_USB_COMM)
				 PDO_FIXED(9000, 2000, PDO_FIXED_USB_COMM)
				 /*PDO_FIXED(12000, 3000, PDO_FIXED_USB_COMM)*/>;
			source-pdos =
				<PDO_FIXED(5000, 500, PDO_FIXED_USB_COMM)>;

			altmodes {
				#address-cells = <1>;
				#size-cells = <0>;

				altmode@0 {
					reg = <0>;
					svid = <0xff01>;
					vdo = <0xffffffff>;
				};
			};

			ports {
				#address-cells = <1>;
				#size-cells = <0>;

				port@0 {
					reg = <0>;
					usbc0_orien_sw: endpoint {
						remote-endpoint = <&usbdp_phy_orientation_switch>;
					};
				};

				port@1 {
					reg = <1>;
					dp_altmode_mux: endpoint {
						remote-endpoint = <&usbdp_phy_dp_altmode_mux>;
					};
				};
			};
		};
	};
};

&i2c9 {
	status = "okay";
	pinctrl-names = "default";
	pinctrl-0 = <&i2c9m3_xfer>;

	fs15xx_pa_34: pa@34 {
		compatible = "foursemi,fs15xx";
		reg = <0x34>;
		status = "okay";
	};

	fs15xx_pa_35: pa@35 {
		compatible = "foursemi,fs15xx";
		reg = <0x35>;
		status = "okay";
	};

	fs15xx_pa_36: pa@36 {
		compatible = "foursemi,fs15xx";
		reg = <0x36>;
		status = "okay";
	};

	fs15xx_pa_37: pa@37 {
		compatible = "foursemi,fs15xx";
		reg = <0x37>;
		status = "okay";
	};
};

&iep {
	status = "okay";
};

&iep_mmu {
	status = "okay";
};

&jpegd {
	status = "okay";
};

&jpege {
	status = "okay";
};

&jpeg_mmu {
	status = "okay";
};

&mipidcphy0 {
	status = "okay";
};

&mpp_srv {
	status = "okay";
};

&pcie0 {
	reset-gpios = <&gpio1 RK_PC1 GPIO_ACTIVE_HIGH>;
	rockchip,skip-scan-in-resume;
	pinctrl-names = "default";
	pinctrl-0 = <&wifi_poweren_gpio>;
	status = "disabled";
};

&pinctrl {

	wifi{
		wifi_power_en: wifi_power_en {
			rockchip,pins = <0 RK_PB5 RK_FUNC_GPIO &pcfg_pull_none>;
		};

		wifi_host_wake_irq: wifi_host_wake_irq {
			rockchip,pins = <0 RK_PB0 RK_FUNC_GPIO &pcfg_pull_none>;
		};

		wifi_chip_wake_irq: wifi_chip_wake_irq {
			rockchip,pins = <1 RK_PC7 RK_FUNC_GPIO &pcfg_pull_none>;
		};
	};

	charger {
		charger_ok: charger_ok {
			rockchip,pins =
				<0 RK_PD2 RK_FUNC_GPIO &pcfg_pull_up>,
				<0 RK_PD3 RK_FUNC_GPIO &pcfg_pull_up>;
		};
	};

	headphone {
		hp_det: hp-det {
			rockchip,pins = <4 RK_PA4 RK_FUNC_GPIO &pcfg_pull_up>;
		};
	};

	lcd {
		lcd_rst_gpio: lcd-rst-gpio {
			rockchip,pins = <2 RK_PB4 RK_FUNC_GPIO &pcfg_pull_none>;
		};


		lcd_enable_gpio: lcd-enable-gpio {
			rockchip,pins = <1 RK_PC6 RK_FUNC_GPIO &pcfg_pull_none>;
		};
	};

	pmic {
		/omit-if-no-ref/
		pmic_int: pmic-int {
			rockchip,pins =
					<0 RK_PA6 0 &pcfg_pull_up>;
		};

		/omit-if-no-ref/
		soc_slppin_gpio: soc-slppin-gpio {
			rockchip,pins =
					<0 RK_PA3 0 &pcfg_output_low>;
		};

		/omit-if-no-ref/
		soc_slppin_slp: soc-slppin-slp {
			rockchip,pins =
					<0 RK_PA3 9 &pcfg_pull_none>;
		};
	};

	touch {
		touch_gpio: touch-gpio {
			rockchip,pins =
				<0 RK_PC5 RK_FUNC_GPIO &pcfg_pull_down>,
				<0 RK_PC6 RK_FUNC_GPIO &pcfg_pull_none>;
		};
	};

	sensor {
		sensor_gpio: sensor-gpio {
			rockchip,pins = <0 RK_PC7 RK_FUNC_GPIO &pcfg_pull_none>;
		};
	};

	usb {
		usbc0_int: usbc0-int {
			rockchip,pins = <0 RK_PD1 RK_FUNC_GPIO &pcfg_pull_up>;
		};
	};

	wireless-bluetooth {
		uart4_gpios: uart4-gpios {
			rockchip,pins = <1 RK_PC2 RK_FUNC_GPIO &pcfg_pull_none>;
		};
	};

	wireless-wlan {
		wifi_poweren_gpio: wifi-poweren-gpio {
			rockchip,pins = <1 RK_PC6 RK_FUNC_GPIO &pcfg_pull_up>;
		};
	};
};

&pwm0_2ch_1 {
	status = "okay";
};

&pwm1_6ch_0 {
	status = "okay";
};

&pwm1_6ch_2 {
	status = "okay";
};

&rga2_core0 {
	status = "okay";
};

&rga2_core0_mmu {
	status = "okay";
};

&rga2_core1 {
	status = "okay";
};

&rga2_core1_mmu {
	status = "okay";
};

&rknpu {
	rknpu-supply = <&vdd_npu_s0>;
	status = "okay";
};

&rknpu_mmu {
	status = "okay";
};

&rkvenc_ccu {
	status = "okay";
};

&rkvenc0 {
	status = "okay";
};

&rkvenc0_mmu {
	status = "okay";
};

&rkvenc1 {
	status = "okay";
};

&rkvenc1_mmu {
	status = "okay";

};

&rkvdec {
	status = "okay";
};

&rkvdec_mmu {
	status = "okay";
};

&rockchip_suspend {
	status = "okay";
	rockchip,sleep-debug-en = <1>;

	rockchip,sleep-mode-config = <
		(0
		| RKPM_SLP_ARMOFF_LOGOFF
		| RKPM_SLP_PMU_PMUALIVE_32K
		| RKPM_SLP_PMU_DIS_OSC
		| RKPM_SLP_32K_EXT
		)
	>;
	rockchip,sleep-io-ret-config = <
		(0
		| RKPM_VCCIO3_RET_EN
		)
	>;
};

&route_dsi {
	status = "okay";
	connect = <&vp0_out_dsi>;
};

&sai1 {
	status = "okay";
	pinctrl-names = "default";
	pinctrl-0 = <&sai1m0_lrck
		     &sai1m0_sclk
		     &sai1m0_sdi0
		     &sai1m0_sdo0>;
};

&saradc {
	status = "okay";
	vref-supply = <&vcca_1v8_s0>;
};

&sdhci {
	bus-width = <8>;
	no-sdio;
	no-sd;
	non-removable;
	max-frequency = <200000000>;
	mmc-hs400-1_8v;
	mmc-hs400-enhanced-strobe;
	full-pwr-cycle-in-suspend;
	status = "disabled";
};

&sdio {
	max-frequency = <150000000>;
	no-sd;
	no-mmc;
	bus-width = <4>;
	disable-wp;
	cap-sd-highspeed;
	cap-sdio-irq;
	keep-power-in-suspend;
	mmc-pwrseq = <&sdio_pwrseq>;
	non-removable;
	pinctrl-names = "default";
	pinctrl-0 = <&sdmmc1m0_bus4 &sdmmc1m0_clk &sdmmc1m0_cmd>;
	sd-uhs-sdr104;
	status = "okay";
};

&sdmmc {
	max-frequency = <200000000>;
	no-sdio;
	no-mmc;
	bus-width = <4>;
	cap-mmc-highspeed;
	cap-sd-highspeed;
	disable-wp;
	sd-uhs-sdr104;
	vmmc-supply = <&vcc3v3_sd_s0>;
	vqmmc-supply = <&vccio_sd_s0>;
	status = "okay";
};

&spdif_tx3 {
	status = "okay";
};

&tsadc {
	status = "okay";
};

&uart4 {
	status = "okay";
	pinctrl-names = "default";
	pinctrl-0 = <&uart4m1_xfer &uart4m1_ctsn>;
};

&u2phy0 {
	status = "okay";
};

&u2phy0_otg {
	status = "okay";
	rockchip,typec-vbus-det;
};

&u2phy1 {
	status = "disabled";
};

&ufs {
	vcc-supply = <&vcc_ufs_s0>;
	vccq-supply = <&vcc1v2_ufs_vccq_s0>;
	vccq2-supply = <&vcc1v8_ufs_vccq2_s0>;
	reset-gpios = <&gpio4 RK_PD0 GPIO_ACTIVE_HIGH>;
	status = "okay";
};

&usbdp_phy {
	status = "okay";
	orientation-switch;
	svid = <0xff01>;
	sbu1-dc-gpios = <&gpio4 RK_PC4 GPIO_ACTIVE_HIGH>;
	sbu2-dc-gpios = <&gpio4 RK_PC5 GPIO_ACTIVE_HIGH>;

	port {
		#address-cells = <1>;
		#size-cells = <0>;

		usbdp_phy_orientation_switch: endpoint@0 {
			reg = <0>;
			remote-endpoint = <&usbc0_orien_sw>;
		};

		usbdp_phy_dp_altmode_mux: endpoint@1 {
			reg = <1>;
			remote-endpoint = <&dp_altmode_mux>;
		};
	};
};

&usbdp_phy_dp {
	status = "okay";
	max-link-rate = <5400>;
};

&usbdp_phy_u3 {
	status = "okay";
};

&usb_drd0_dwc3 {
	status = "okay";
	dr_mode = "otg";
	usb-role-switch;
	port {
		usb_drd0_role_switch: endpoint {
			remote-endpoint = <&usbc0_role_sw>;
		};
	};
};

&vdpp {
	status = "okay";
};

&vop {
	status = "okay";
	vop-supply = <&vdd_logic_s0>;
};

&vop_mmu {
	status = "okay";
};

